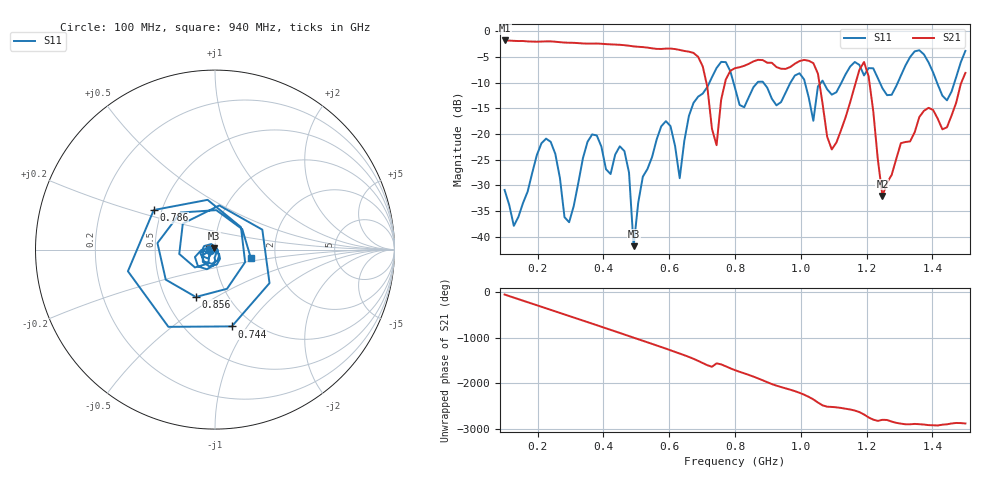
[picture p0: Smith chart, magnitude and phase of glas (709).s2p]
! NanoVNA-App
! Date: 2025-09-25 16:01:00
! Start: 100MHz Stop: 1,5GHz Points: 101
! S-Parameter data: F S11 S21 S12 S22
# Hz S RI R 50
!  Frequency  S11_Real  S11_Imag  S21_Real  S21_Imag  S12_Real  S12_Imag  S22_Real  S22_Imag
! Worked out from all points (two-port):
!   101 points, 100 MHz to 1.5 GHz, reference 50 ohm
!   highest |S21| = -1.80 dB at 100 MHz (marker M1); lowest = -32.1 dB at 1.248 GHz (marker M2)
!   |S21| within 3 dB of the highest: start of sweep to 684.5 MHz
!   lowest |S11| = -41.9 dB at 492 MHz (marker M3), VSWR 1.02, Z = 49.5 + j0.635 ohm
!   |S11| at or under -10 dB: start of sweep to 722.4 MHz; 795.4 MHz to 868.1 MHz (72.65 MHz wide, 8.73 % of centre); 886.1 MHz to 968.7 MHz (82.6 MHz wide, 8.91 % of centre) (the widest 3 of 7)
!   S12 and S22 are empty: the file has one direction only
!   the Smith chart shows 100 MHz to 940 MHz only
!   S11 on the Smith chart (normalised r, x): 100 MHz: 0.94, -0.01; 744 MHz: 0.80, -0.85; 786 MHz: 0.45, +0.24; 856 MHz: 0.71, -0.41; 940 MHz: 1.49, -0.14
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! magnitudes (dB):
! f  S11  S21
! 100 MHz  -30.9  -1.8
! 128 MHz  -37.9  -1.9
! 226 MHz  -20.9  -2.0
! 296 MHz  -37.2  -2.2
! 338 MHz  -24.7  -2.4
! 464 MHz  -23.4  -2.7
! 492 MHz  -41.9  -3.0
! 576 MHz  -18.5  -3.5
! 632 MHz  -28.6  -3.6
! 702 MHz  -12.1  -6.9
! 744 MHz  -7.2  -22.2
! 786 MHz  -7.8  -7.7
! 800 MHz  -11.0  -7.2
! 856 MHz  -10.9  -5.9
! 940 MHz  -13.8  -7.3
! 996 MHz  -8.2  -5.8
! 1.038 GHz  -17.5  -6.2
! 1.094 GHz  -12.4  -23.0
! 1.192 GHz  -8.6  -6.0
! 1.248 GHz  -11.1  -32.1
! 1.276 GHz  -12.4  -28.0
! 1.5 GHz  -3.8  -8.1
